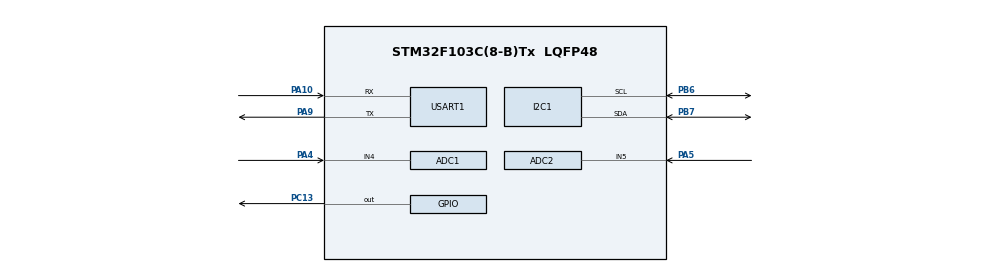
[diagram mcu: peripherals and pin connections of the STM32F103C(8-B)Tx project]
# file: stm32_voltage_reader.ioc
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ADC1.Channel-6\#ChannelRegularConversion=ADC_CHANNEL_4
ADC1.NbrOfConversionFlag=1
ADC1.Rank-6\#ChannelRegularConversion=1
ADC1.SamplingTime-6\#ChannelRegularConversion=ADC_SAMPLETIME_1CYCLE_5
ADC1.master=1
ADC2.Channel-10\#ChannelRegularConversion=ADC_CHANNEL_5
ADC2.NbrOfConversionFlag=1
ADC2.Rank-10\#ChannelRegularConversion=1
ADC2.SamplingTime-10\#ChannelRegularConversion=ADC_SAMPLETIME_1CYCLE_5
I2C1.I2C_Mode=I2C_Fast
Mcu.Family=STM32F1
Mcu.Name=STM32F103C(8-B)Tx
Mcu.Package=LQFP48
NVIC.PriorityGroup=NVIC_PRIORITYGROUP_4
PA10.Mode=Asynchronous
PA10.Signal=USART1_RX
PA13.Mode=Serial_Wire
PA13.Signal=SYS_JTMS-SWDIO
PA14.Mode=Serial_Wire
PA14.Signal=SYS_JTCK-SWCLK
PA4.GPIO_Mode=GPIO_MODE_ANALOG
PA4.Signal=ADCx_IN4
PA5.Signal=ADCx_IN5
PA9.Mode=Asynchronous
PA9.Signal=USART1_TX
PB6.Mode=I2C
PB6.Signal=I2C1_SCL
PB7.Mode=I2C
PB7.Signal=I2C1_SDA
PC13-TAMPER-RTC.Signal=GPIO_Output
PD0-OSC_IN.Mode=HSE-External-Oscillator
PD0-OSC_IN.Signal=RCC_OSC_IN
PD1-OSC_OUT.Mode=HSE-External-Oscillator
PD1-OSC_OUT.Signal=RCC_OSC_OUT
ProjectManager.HeapSize=0x200
ProjectManager.StackSize=0x400
ProjectManager.TargetToolchain=Makefile
RCC.APB1Freq_Value=8000000
RCC.APB2Freq_Value=8000000
SH.ADCx_IN4.0=ADC1_IN4,IN4
SH.ADCx_IN5.0=ADC2_IN5,IN5
USART1.VirtualMode=VM_ASYNC
board=custom

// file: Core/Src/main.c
/* USER CODE BEGIN Header */
/**
  ******************************************************************************
  * @file           : main.c
  * @brief          : Main program body
  ******************************************************************************
  * @attention
  *
  * Copyright (c) 2023 STMicroelectronics.
  * All rights reserved.
  *
  * This software is licensed under terms that can be found in the LICENSE file
  * in the root directory of this software component.
  * If no LICENSE file comes with this software, it is provided AS-IS.
  *
  ******************************************************************************
  */
/* USER CODE END Header */
#include "main.h"

/* USER CODE BEGIN Includes */
#include <stdio.h>
#include "ssd1306.h"
#include "ssd1306_fonts.h"
#include "ssd1306_conf_template.h"
/* USER CODE END Includes */

ADC_HandleTypeDef hadc1;
ADC_HandleTypeDef hadc2;

I2C_HandleTypeDef hi2c1;

UART_HandleTypeDef huart1;

/* USER CODE BEGIN PV */
//uint32_t dataAddress = 0x08001c00;// version without display
uint32_t dataAddress = 0x08003a00; // with display

static uint32_t readCurrentTimeFromFlash()
{
  return *(__IO uint32_t *)dataAddress;
}

static int WriteToFlash(uint32_t t, uint32_t voltageRaw, uint32_t amperageRaw)
{
    if (t > 114*1024/4) {// 120 for the version without display, 114 with display
        return 333; // no memory to store data
    }
      /* Unlock the Flash to enable the flash control register access *************/
       HAL_FLASH_Unlock();

       /* Erase the user Flash area*/

      uint32_t StartPageAddress = dataAddress + t*4;
      //uint64_t dataToWrite = voltageRaw + (amperageRaw >> 16);

      if (HAL_FLASH_Program(FLASH_TYPEPROGRAM_HALFWORD, StartPageAddress, (uint64_t) voltageRaw) != HAL_OK) {
          return HAL_FLASH_GetError ();
      }

      if (HAL_FLASH_Program(FLASH_TYPEPROGRAM_HALFWORD, StartPageAddress + 2, (uint64_t) amperageRaw) != HAL_OK) {
          return HAL_FLASH_GetError ();
      }

      /* Lock the Flash to disable the flash control register access (recommended
          to protect the FLASH memory against possible unwanted operation) *********/
      HAL_FLASH_Lock();

      return 0;
}

static int eraseFlashMemory()
{
    static FLASH_EraseInitTypeDef EraseInitStruct;
    uint32_t PAGEError;
      uint32_t StartPage = dataAddress;
      uint32_t EndPage = dataAddress + 120*1024 - 1;
      HAL_FLASH_Unlock();

       /* Fill EraseInit structure*/
       EraseInitStruct.TypeErase   = FLASH_TYPEERASE_PAGES;
       EraseInitStruct.PageAddress = StartPage;
       EraseInitStruct.NbPages     = ((EndPage - StartPage)/FLASH_PAGE_SIZE) +1;

       if (HAL_FLASHEx_Erase(&EraseInitStruct, &PAGEError) != HAL_OK)
       {
         /*Error occurred while page erase.*/
          return HAL_FLASH_GetError ();
       }
       HAL_FLASH_Lock();

      return 0;
}

static uint32_t searchForStartPosition()
{
  uint32_t currentValue;
  uint32_t i = 0;
  uint32_t firstEmptyPosition = 0;
  int firstEmpty = 0;

  while (i < 114*1024/4)
  {
    currentValue = *(__IO uint32_t *)(dataAddress + i*4);
    if (currentValue == 0xffffffffU) {
        if (firstEmpty == 1) {
            return firstEmptyPosition;
        }

        firstEmpty = 1;
        firstEmptyPosition = i;
    } else {
        firstEmpty = 0;
        firstEmptyPosition = 0;
    }

    i++;
  }

  return firstEmptyPosition;
}

static uint32_t display_refresh(int voltage, int amperage, int time)
{
  char str[36];
  sprintf(str, "voltage raw: %d", voltage);
  ssd1306_SetCursor(2, 2 + 9);
  ssd1306_WriteString(str, Font_7x10, White);

  sprintf(str, "current raw: %d", amperage);
  ssd1306_SetCursor(2, 2 + 9*2);
  ssd1306_WriteString(str, Font_7x10, White);
  sprintf(str, "time: %d of %d", time, 29184); //114*1024/4
  ssd1306_SetCursor(2, 2 + 9*3);
  ssd1306_WriteString(str, Font_7x10, White);
  sprintf(str, "Mariyka-porosiyka!");
  ssd1306_SetCursor(2, 2 + 9*4);
  ssd1306_WriteString(str, Font_7x10, White);
  sprintf(str, "!!!ne chipay!!!", time);
  ssd1306_SetCursor(2, 2 + 9*5);
  ssd1306_WriteString(str, Font_7x10, White);

  ssd1306_UpdateScreen();
}

/* USER CODE END PV */

void SystemClock_Config(void);
static void MX_GPIO_Init(void);
static void MX_USART1_UART_Init(void);
static void MX_ADC1_Init(void);
static void MX_ADC2_Init(void);
static void MX_I2C1_Init(void);

int main(void)
{
  /* USER CODE BEGIN 1 */
  uint32_t voltageRaw;
  uint32_t amperageRaw;
  //char buffer[300];

  /* USER CODE END 1 */

  /* MCU Configuration--------------------------------------------------------*/

  /* Reset of all peripherals, Initializes the Flash interface and the Systick. */
  HAL_Init();

  /* Configure the system clock */
  SystemClock_Config();

  /* Initialize all configured peripherals */
  MX_GPIO_Init();
  MX_USART1_UART_Init();
  MX_ADC1_Init();
  HAL_ADCEx_Calibration_Start(&hadc1);
  MX_ADC2_Init();
  HAL_ADCEx_Calibration_Start(&hadc2);
  MX_I2C1_Init();
  /* USER CODE BEGIN 2 */
  //eraseFlashMemory();
  uint32_t t = searchForStartPosition();

  GPIO_PinState state;
  WriteToFlash(t, 0xfffe, 0xfffe); // marker of the recording start
  ssd1306_Init();
  display_refresh(0, 0, t);
  /* USER CODE END 2 */

  /* Infinite loop */
  /* USER CODE BEGIN WHILE */
  while (1)
  {
         // Start ADC Conversion
        HAL_ADC_Start(&hadc1);
       // Poll ADC1 Perihperal & TimeOut = 1mSec
        HAL_ADC_PollForConversion(&hadc1, 1);
       // Read The ADC Conversion Result & Map It To PWM DutyCycle
        amperageRaw = HAL_ADC_GetValue(&hadc1);
        HAL_Delay(1);
         // Start ADC Conversion
        HAL_ADC_Start(&hadc2);
       // Poll ADC1 Perihperal & TimeOut = 1mSec
        HAL_ADC_PollForConversion(&hadc2, 1);
       // Read The ADC Conversion Result & Map It To PWM DutyCycle
        voltageRaw = HAL_ADC_GetValue(&hadc2);

    //sprintf(buffer, "Time: %d, voltage raw: %d, amperage raw: %d\n", (int) t, (int) voltageRaw, (int) amperageRaw);
    //HAL_UART_Write(data);
    if (WriteToFlash(t, voltageRaw, amperageRaw) == 333)
    {
      while(1) {// memory error indication
        HAL_GPIO_WritePin(GPIOC,GPIO_PIN_13, GPIO_PIN_SET);
        HAL_Delay(100);
        HAL_GPIO_WritePin(GPIOC,GPIO_PIN_13, GPIO_PIN_RESET);
        HAL_Delay(100);
      }

    }

    display_refresh(voltageRaw, amperageRaw, t);

    t++;

    if (voltageRaw > 4096/2) {
      state = GPIO_PIN_SET;
    } else {
      state = GPIO_PIN_RESET;
    }

    HAL_GPIO_WritePin(GPIOC,GPIO_PIN_13, state);
    HAL_Delay(2000);

    /* USER CODE END WHILE */

  }
}

void SystemClock_Config(void)
{
  RCC_OscInitTypeDef RCC_OscInitStruct = {0};
  RCC_ClkInitTypeDef RCC_ClkInitStruct = {0};
  RCC_PeriphCLKInitTypeDef PeriphClkInit = {0};

  /** Initializes the RCC Oscillators according to the specified parameters
  * in the RCC_OscInitTypeDef structure.
  */
  RCC_OscInitStruct.OscillatorType = RCC_OSCILLATORTYPE_HSI;
  RCC_OscInitStruct.HSIState = RCC_HSI_ON;
  RCC_OscInitStruct.HSICalibrationValue = RCC_HSICALIBRATION_DEFAULT;
  RCC_OscInitStruct.PLL.PLLState = RCC_PLL_NONE;
  if (HAL_RCC_OscConfig(&RCC_OscInitStruct) != HAL_OK)
  {
    Error_Handler();
  }

  /** Initializes the CPU, AHB and APB buses clocks
  */
  RCC_ClkInitStruct.ClockType = RCC_CLOCKTYPE_HCLK|RCC_CLOCKTYPE_SYSCLK
                              |RCC_CLOCKTYPE_PCLK1|RCC_CLOCKTYPE_PCLK2;
  RCC_ClkInitStruct.SYSCLKSource = RCC_SYSCLKSOURCE_HSI;
  RCC_ClkInitStruct.AHBCLKDivider = RCC_SYSCLK_DIV1;
  RCC_ClkInitStruct.APB1CLKDivider = RCC_HCLK_DIV1;
  RCC_ClkInitStruct.APB2CLKDivider = RCC_HCLK_DIV1;

  if (HAL_RCC_ClockConfig(&RCC_ClkInitStruct, FLASH_LATENCY_0) != HAL_OK)
  {
    Error_Handler();
  }
  PeriphClkInit.PeriphClockSelection = RCC_PERIPHCLK_ADC;
  PeriphClkInit.AdcClockSelection = RCC_ADCPCLK2_DIV2;
  if (HAL_RCCEx_PeriphCLKConfig(&PeriphClkInit) != HAL_OK)
  {
    Error_Handler();
  }
}

static void MX_ADC1_Init(void)
{

  ADC_ChannelConfTypeDef sConfig = {0};

  /** Common config
  */
  hadc1.Instance = ADC1;
  hadc1.Init.ScanConvMode = ADC_SCAN_DISABLE;
  hadc1.Init.ContinuousConvMode = DISABLE;
  hadc1.Init.DiscontinuousConvMode = DISABLE;
  hadc1.Init.ExternalTrigConv = ADC_SOFTWARE_START;
  hadc1.Init.DataAlign = ADC_DATAALIGN_RIGHT;
  hadc1.Init.NbrOfConversion = 1;
  if (HAL_ADC_Init(&hadc1) != HAL_OK)
  {
    Error_Handler();
  }

  /** Configure Regular Channel
  */
  sConfig.Channel = ADC_CHANNEL_4;
  sConfig.Rank = ADC_REGULAR_RANK_1;
  sConfig.SamplingTime = ADC_SAMPLETIME_1CYCLE_5;
  if (HAL_ADC_ConfigChannel(&hadc1, &sConfig) != HAL_OK)
  {
    Error_Handler();
  }

}

static void MX_ADC2_Init(void)
{

  ADC_ChannelConfTypeDef sConfig = {0};

  /** Common config
  */
  hadc2.Instance = ADC2;
  hadc2.Init.ScanConvMode = ADC_SCAN_DISABLE;
  hadc2.Init.ContinuousConvMode = DISABLE;
  hadc2.Init.DiscontinuousConvMode = DISABLE;
  hadc2.Init.ExternalTrigConv = ADC_SOFTWARE_START;
  hadc2.Init.DataAlign = ADC_DATAALIGN_RIGHT;
  hadc2.Init.NbrOfConversion = 1;
  if (HAL_ADC_Init(&hadc2) != HAL_OK)
  {
    Error_Handler();
  }

  /** Configure Regular Channel
  */
  sConfig.Channel = ADC_CHANNEL_5;
  sConfig.Rank = ADC_REGULAR_RANK_1;
  sConfig.SamplingTime = ADC_SAMPLETIME_1CYCLE_5;
  if (HAL_ADC_ConfigChannel(&hadc2, &sConfig) != HAL_OK)
  {
    Error_Handler();
  }

}

static void MX_I2C1_Init(void)
{

  hi2c1.Instance = I2C1;
  hi2c1.Init.ClockSpeed = 400000;
  hi2c1.Init.DutyCycle = I2C_DUTYCYCLE_2;
  hi2c1.Init.OwnAddress1 = 0;
  hi2c1.Init.AddressingMode = I2C_ADDRESSINGMODE_7BIT;
  hi2c1.Init.DualAddressMode = I2C_DUALADDRESS_DISABLE;
  hi2c1.Init.OwnAddress2 = 0;
  hi2c1.Init.GeneralCallMode = I2C_GENERALCALL_DISABLE;
  hi2c1.Init.NoStretchMode = I2C_NOSTRETCH_DISABLE;
  if (HAL_I2C_Init(&hi2c1) != HAL_OK)
  {
    Error_Handler();
  }

}

static void MX_USART1_UART_Init(void)
{

  huart1.Instance = USART1;
  huart1.Init.BaudRate = 115200;
  huart1.Init.WordLength = UART_WORDLENGTH_8B;
  huart1.Init.StopBits = UART_STOPBITS_1;
  huart1.Init.Parity = UART_PARITY_NONE;
  huart1.Init.Mode = UART_MODE_TX_RX;
  huart1.Init.HwFlowCtl = UART_HWCONTROL_NONE;
  huart1.Init.OverSampling = UART_OVERSAMPLING_16;
  if (HAL_UART_Init(&huart1) != HAL_OK)
  {
    Error_Handler();
  }

}

static void MX_GPIO_Init(void)
{
  GPIO_InitTypeDef GPIO_InitStruct = {0};

  /* GPIO Ports Clock Enable */
  __HAL_RCC_GPIOC_CLK_ENABLE();
  __HAL_RCC_GPIOD_CLK_ENABLE();
  __HAL_RCC_GPIOA_CLK_ENABLE();
  __HAL_RCC_GPIOB_CLK_ENABLE();

  /*Configure GPIO pin Output Level */
  HAL_GPIO_WritePin(GPIOC, GPIO_PIN_13, GPIO_PIN_RESET);

  /*Configure GPIO pin : PC13 */
  GPIO_InitStruct.Pin = GPIO_PIN_13;
  GPIO_InitStruct.Mode = GPIO_MODE_OUTPUT_PP;
  GPIO_InitStruct.Pull = GPIO_NOPULL;
  GPIO_InitStruct.Speed = GPIO_SPEED_FREQ_LOW;
  HAL_GPIO_Init(GPIOC, &GPIO_InitStruct);

}

void Error_Handler(void)
{
  __disable_irq();
  while (1)
  {
  }
}
